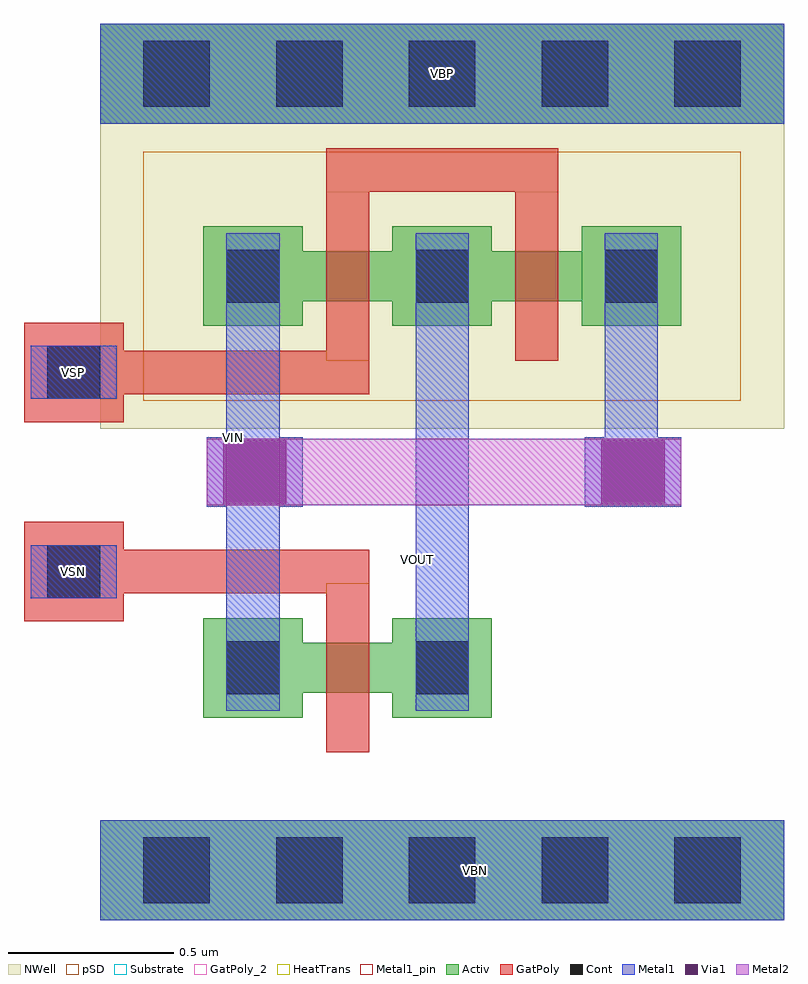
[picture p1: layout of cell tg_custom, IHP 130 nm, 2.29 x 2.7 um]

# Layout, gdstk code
import gdstk
lib = gdstk.Library(unit=1e-6, precision=5e-09)
def R(c, l, rs):  # rectangles x0, y0, x1, y1
    for r in rs: c.add(gdstk.rectangle(r[:2], r[2:], *l))
def A(c, l, x, y, w, h, nx, ny, dx, dy):  # array of equal rectangles
    R(c, l, [(x+i*dx, y+j*dy, x+i*dx+w, y+j*dy+h) for i in range(nx) for j in range(ny)])
Activ = (1, 0)
GatPoly = (5, 0)
GatPoly_2 = (5, 2)
Cont = (6, 0)
Metal1 = (8, 0)
Metal1_pin = (8, 2)
Metal2 = (10, 0)
pSD = (14, 0)
Via1 = (19, 0)
NWell = (31, 0)
Substrate = (40, 0)
HeatTrans = (51, 0)

pmos = lib.new_cell('pmos')
A(pmos, Activ, 0, 0, 0.3, 0.3, 3, 1, 0.57, 0)
R(pmos, Activ, [(0,0.075,1.44,0.225)])
R(pmos, GatPoly, [(0.37,-0.105,0.5,0.405), (0.37,-0.105,0.5,0.405), (0.94,-0.105,1.07,0.405)])
A(pmos, Cont, 0.07, 0.07, 0.16, 0.16, 3, 1, 0.57, 0)
R(pmos, Metal1, [(0.07,0.02,0.23,0.28), (0.07,0.02,0.23,0.28), (0.64,0.02,0.8,0.28), (0.64,0.02,0.8,0.28), (1.21,0.02,1.37,0.28)])
R(pmos, pSD, [(-0.18,-0.225,1.62,0.525)])
R(pmos, NWell, [(-0.31,-0.31,1.75,0.61)])
R(pmos, Substrate, [(1.14,0,1.44,0.3)])
R(pmos, HeatTrans, [(0.37,-0.105,0.5,0.405), (0.94,-0.105,1.07,0.405)])
pmos.add(gdstk.Label('pmos', (0.435,0.15), layer=63, texttype=0))
pmos.add(gdstk.Label('pmos', (0.435,0.15), layer=51, texttype=0))
pmos.add(gdstk.Label('pmos', (1.005,0.15), layer=51, texttype=0))

via_stack_1 = lib.new_cell('via_stack$1')
R(via_stack_1, GatPoly, [(-0.15,-0.15,0.15,0.15)])
R(via_stack_1, Cont, [(-0.08,-0.08,0.08,0.08)])
R(via_stack_1, Metal1, [(-0.13,-0.08,0.13,0.08)])

nmos = lib.new_cell('nmos')
R(nmos, Activ, [(0,0,0.3,0.3), (0.57,0,0.87,0.3), (0,0.075,0.87,0.225)])
R(nmos, GatPoly, [(0.37,-0.105,0.5,0.405)])
R(nmos, GatPoly_2, [(0.37,-0.105,0.5,0.405)])
R(nmos, Cont, [(0.07,0.07,0.23,0.23), (0.64,0.07,0.8,0.23)])
R(nmos, Metal1, [(0.07,0.02,0.23,0.28), (0.64,0.02,0.8,0.28)])
R(nmos, Metal1_pin, [(0.07,0.02,0.23,0.28), (0.64,0.02,0.8,0.28)])
R(nmos, HeatTrans, [(0.37,-0.105,0.5,0.405)])
nmos.add(gdstk.Label('nmos', (0.435,0.15), layer=63, texttype=0))
nmos.add(gdstk.Label('nmos', (0.435,0.15), layer=51, texttype=0))

via_stack_2 = lib.new_cell('via_stack$2')
R(via_stack_2, Metal1, [(-0.145,-0.105,0.145,0.105)])
R(via_stack_2, Metal2, [(-0.145,-0.1,0.145,0.1)])
R(via_stack_2, Via1, [(-0.095,-0.095,0.095,0.095)])

pmos_3 = lib.new_cell('pmos$3')
A(pmos_3, Activ, 0, 0, 0.3, 0.3, 3, 1, 0.57, 0)
R(pmos_3, Activ, [(0,0.075,1.44,0.225)])
R(pmos_3, GatPoly, [(0.37,-0.105,0.5,0.405), (0.37,-0.105,0.5,0.405), (0.94,-0.105,1.07,0.405)])
A(pmos_3, Cont, 0.07, 0.07, 0.16, 0.16, 3, 1, 0.57, 0)
R(pmos_3, Metal1, [(0.07,0.02,0.23,0.28), (0.07,0.02,0.23,0.28), (0.64,0.02,0.8,0.28), (0.64,0.02,0.8,0.28), (1.21,0.02,1.37,0.28)])
R(pmos_3, pSD, [(-0.18,-0.225,1.62,0.525)])
R(pmos_3, NWell, [(-0.31,-0.31,1.75,0.61)])
R(pmos_3, Substrate, [(1.14,0,1.44,0.3)])
R(pmos_3, HeatTrans, [(0.37,-0.105,0.5,0.405), (0.94,-0.105,1.07,0.405)])
pmos_3.add(gdstk.Label('pmos', (0.435,0.15), layer=63, texttype=0))
pmos_3.add(gdstk.Label('pmos', (0.435,0.15), layer=51, texttype=0))
pmos_3.add(gdstk.Label('pmos', (1.005,0.15), layer=51, texttype=0))

via_stack_1_3 = lib.new_cell('via_stack$1$3')
R(via_stack_1_3, GatPoly, [(-0.15,-0.15,0.15,0.15)])
R(via_stack_1_3, Cont, [(-0.08,-0.08,0.08,0.08)])
R(via_stack_1_3, Metal1, [(-0.13,-0.08,0.13,0.08)])

nmos_5 = lib.new_cell('nmos$5')
R(nmos_5, Activ, [(0,0,0.3,0.3), (0.57,0,0.87,0.3), (0,0.075,0.87,0.225)])
R(nmos_5, GatPoly, [(0.37,-0.105,0.5,0.405)])
R(nmos_5, GatPoly_2, [(0.37,-0.105,0.5,0.405)])
R(nmos_5, Cont, [(0.07,0.07,0.23,0.23), (0.64,0.07,0.8,0.23)])
R(nmos_5, Metal1, [(0.07,0.02,0.23,0.28), (0.64,0.02,0.8,0.28)])
R(nmos_5, Metal1_pin, [(0.07,0.02,0.23,0.28), (0.64,0.02,0.8,0.28)])
R(nmos_5, HeatTrans, [(0.37,-0.105,0.5,0.405)])
nmos_5.add(gdstk.Label('nmos', (0.435,0.15), layer=63, texttype=0))
nmos_5.add(gdstk.Label('nmos', (0.435,0.15), layer=51, texttype=0))

via_stack_2_1 = lib.new_cell('via_stack$2$1')
R(via_stack_2_1, Metal1, [(-0.145,-0.105,0.145,0.105)])
R(via_stack_2_1, Metal2, [(-0.145,-0.1,0.145,0.1)])
R(via_stack_2_1, Via1, [(-0.095,-0.095,0.095,0.095)])

pmos_4 = lib.new_cell('pmos$4')
A(pmos_4, Activ, 0, 0, 0.3, 0.3, 3, 1, 0.57, 0)
R(pmos_4, Activ, [(0,0.075,1.44,0.225)])
R(pmos_4, GatPoly, [(0.37,-0.105,0.5,0.405), (0.37,-0.105,0.5,0.405), (0.94,-0.105,1.07,0.405)])
A(pmos_4, Cont, 0.07, 0.07, 0.16, 0.16, 3, 1, 0.57, 0)
R(pmos_4, Metal1, [(0.07,0.02,0.23,0.28), (0.07,0.02,0.23,0.28), (0.64,0.02,0.8,0.28), (0.64,0.02,0.8,0.28), (1.21,0.02,1.37,0.28)])
R(pmos_4, pSD, [(-0.18,-0.225,1.62,0.525)])
R(pmos_4, NWell, [(-0.31,-0.31,1.75,0.61)])
R(pmos_4, Substrate, [(1.14,0,1.44,0.3)])
R(pmos_4, HeatTrans, [(0.37,-0.105,0.5,0.405), (0.94,-0.105,1.07,0.405)])
pmos_4.add(gdstk.Label('pmos', (0.435,0.15), layer=63, texttype=0))
pmos_4.add(gdstk.Label('pmos', (0.435,0.15), layer=51, texttype=0))
pmos_4.add(gdstk.Label('pmos', (1.005,0.15), layer=51, texttype=0))

via_stack_1_4 = lib.new_cell('via_stack$1$4')
R(via_stack_1_4, GatPoly, [(-0.15,-0.15,0.15,0.15)])
R(via_stack_1_4, Cont, [(-0.08,-0.08,0.08,0.08)])
R(via_stack_1_4, Metal1, [(-0.13,-0.08,0.13,0.08)])

nmos_6 = lib.new_cell('nmos$6')
R(nmos_6, Activ, [(0,0,0.3,0.3), (0.57,0,0.87,0.3), (0,0.075,0.87,0.225)])
R(nmos_6, GatPoly, [(0.37,-0.105,0.5,0.405)])
R(nmos_6, GatPoly_2, [(0.37,-0.105,0.5,0.405)])
R(nmos_6, Cont, [(0.07,0.07,0.23,0.23), (0.64,0.07,0.8,0.23)])
R(nmos_6, Metal1, [(0.07,0.02,0.23,0.28), (0.64,0.02,0.8,0.28)])
R(nmos_6, Metal1_pin, [(0.07,0.02,0.23,0.28), (0.64,0.02,0.8,0.28)])
R(nmos_6, HeatTrans, [(0.37,-0.105,0.5,0.405)])
nmos_6.add(gdstk.Label('nmos', (0.435,0.15), layer=63, texttype=0))
nmos_6.add(gdstk.Label('nmos', (0.435,0.15), layer=51, texttype=0))

via_stack_2_2 = lib.new_cell('via_stack$2$2')
R(via_stack_2_2, Metal1, [(-0.145,-0.105,0.145,0.105)])
R(via_stack_2_2, Metal2, [(-0.145,-0.1,0.145,0.1)])
R(via_stack_2_2, Via1, [(-0.095,-0.095,0.095,0.095)])

tg_custom = lib.new_cell('tg_custom')
R(tg_custom, Activ, [(0.205,1.165,2.265,1.465), (0.205,1.165,2.265,1.465), (0.205,1.165,2.265,1.465), (0.205,3.565,2.265,3.865), (0.205,3.565,2.265,3.865), (0.205,3.565,2.265,3.865)])
R(tg_custom, GatPoly, [(0.885,1.67,1.015,2.28), (0.885,1.67,1.015,2.28), (0.885,1.67,1.015,2.28), (0.125,2.15,1.015,2.28), (0.125,2.15,1.015,2.28), (0.125,2.15,1.015,2.28), (0.125,2.75,1.015,2.88), (0.125,2.75,1.015,2.88), (0.125,2.75,1.015,2.88), (0.885,2.75,1.015,3.36), (0.885,2.75,1.015,3.36), (0.885,2.75,1.015,3.36), (0.885,3.36,1.585,3.49), (0.885,3.36,1.585,3.49), (0.885,3.36,1.585,3.49)])
R(tg_custom, Cont, [(0.335,1.215,0.535,1.415), (0.335,1.215,0.535,1.415), (0.335,1.215,0.535,1.415), (0.735,1.215,0.935,1.415), (0.735,1.215,0.935,1.415), (0.735,1.215,0.935,1.415), (1.135,1.215,1.335,1.415), (1.135,1.215,1.335,1.415), (1.135,1.215,1.335,1.415), (1.535,1.215,1.735,1.415), (1.535,1.215,1.735,1.415), (1.535,1.215,1.735,1.415), (1.935,1.215,2.135,1.415), (1.935,1.215,2.135,1.415), (1.935,1.215,2.135,1.415), (0.335,3.615,0.535,3.815), (0.335,3.615,0.535,3.815), (0.335,3.615,0.535,3.815), (0.735,3.615,0.935,3.815), (0.735,3.615,0.935,3.815), (0.735,3.615,0.935,3.815), (1.135,3.615,1.335,3.815), (1.135,3.615,1.335,3.815), (1.135,3.615,1.335,3.815), (1.535,3.615,1.735,3.815), (1.535,3.615,1.735,3.815), (1.535,3.615,1.735,3.815), (1.935,3.615,2.135,3.815), (1.935,3.615,2.135,3.815), (1.935,3.615,2.135,3.815)])
R(tg_custom, Metal1, [(0.205,1.165,2.265,1.465), (0.205,1.165,2.265,1.465), (0.205,1.165,2.265,1.465), (0.585,1.795,0.745,3.235), (0.585,1.795,0.745,3.235), (0.585,1.795,0.745,3.235), (1.155,1.795,1.315,3.235), (1.155,1.795,1.315,3.235), (1.155,1.795,1.315,3.235), (1.725,2.41,1.885,3.235), (1.725,2.41,1.885,3.235), (1.725,2.41,1.885,3.235), (0.205,3.565,2.265,3.865), (0.205,3.565,2.265,3.865), (0.205,3.565,2.265,3.865)])
R(tg_custom, Metal1_pin, [(0.205,1.165,2.265,1.465), (0.205,1.165,2.265,1.465), (0.205,1.165,2.265,1.465), (0.585,1.795,0.745,3.235), (0.585,1.795,0.745,3.235), (0.585,1.795,0.745,3.235), (1.155,1.795,1.315,3.235), (1.155,1.795,1.315,3.235), (1.155,1.795,1.315,3.235), (0.205,3.565,2.265,3.865), (0.205,3.565,2.265,3.865), (0.205,3.565,2.265,3.865)])
R(tg_custom, Metal2, [(0.525,2.415,1.955,2.615), (0.525,2.415,1.955,2.615), (0.525,2.415,1.955,2.615)])
R(tg_custom, pSD, [(0.205,1.165,2.265,1.465), (0.205,1.165,2.265,1.465), (0.205,1.165,2.265,1.465)])
R(tg_custom, NWell, [(0.205,3.565,2.265,3.865), (0.205,3.565,2.265,3.865), (0.205,3.565,2.265,3.865)])
tg_custom.add(gdstk.Reference(pmos, (0.515,2.955)))
tg_custom.add(gdstk.Reference(via_stack_1, (0.125,2.815)))
tg_custom.add(gdstk.Reference(via_stack_1, (0.125,2.215)))
tg_custom.add(gdstk.Reference(nmos, (0.515,1.775)))
tg_custom.add(gdstk.Reference(via_stack_2, (0.67,2.515)))
tg_custom.add(gdstk.Reference(via_stack_2, (1.81,2.515)))
tg_custom.add(gdstk.Reference(pmos_3, (0.515,2.955)))
tg_custom.add(gdstk.Reference(via_stack_1_3, (0.125,2.815)))
tg_custom.add(gdstk.Reference(via_stack_1_3, (0.125,2.215)))
tg_custom.add(gdstk.Reference(nmos_5, (0.515,1.775)))
tg_custom.add(gdstk.Reference(via_stack_2_1, (0.67,2.515)))
tg_custom.add(gdstk.Reference(via_stack_2_1, (1.81,2.515)))
tg_custom.add(gdstk.Reference(pmos_4, (0.515,2.955)))
tg_custom.add(gdstk.Reference(via_stack_1_4, (0.125,2.815)))
tg_custom.add(gdstk.Reference(via_stack_1_4, (0.125,2.215)))
tg_custom.add(gdstk.Reference(nmos_6, (0.515,1.775)))
tg_custom.add(gdstk.Reference(via_stack_2_2, (0.67,2.515)))
tg_custom.add(gdstk.Reference(via_stack_2_2, (1.81,2.515)))
tg_custom.add(gdstk.Label('VIN', (0.605,2.62), layer=8, texttype=25))
tg_custom.add(gdstk.Label('VOUT', (1.16,2.25), layer=8, texttype=25))
tg_custom.add(gdstk.Label('VSN', (0.125,2.215), layer=8, texttype=25))
tg_custom.add(gdstk.Label('VBN', (1.335,1.315), layer=8, texttype=25))
tg_custom.add(gdstk.Label('VSP', (0.125,2.815), layer=8, texttype=25))
tg_custom.add(gdstk.Label('VBP', (1.235,3.715), layer=8, texttype=25))
tg_custom.add(gdstk.Label('VIN', (0.605,2.62), layer=8, texttype=25))
tg_custom.add(gdstk.Label('VOUT', (1.16,2.25), layer=8, texttype=25))
tg_custom.add(gdstk.Label('VSN', (0.125,2.215), layer=8, texttype=25))
tg_custom.add(gdstk.Label('VBN', (1.335,1.315), layer=8, texttype=25))
tg_custom.add(gdstk.Label('VSP', (0.125,2.815), layer=8, texttype=25))
tg_custom.add(gdstk.Label('VBP', (1.235,3.715), layer=8, texttype=25))
tg_custom.add(gdstk.Label('VIN', (0.605,2.62), layer=8, texttype=25))
tg_custom.add(gdstk.Label('VOUT', (1.16,2.25), layer=8, texttype=25))
tg_custom.add(gdstk.Label('VSN', (0.125,2.215), layer=8, texttype=25))
tg_custom.add(gdstk.Label('VBN', (1.335,1.315), layer=8, texttype=25))
tg_custom.add(gdstk.Label('VSP', (0.125,2.815), layer=8, texttype=25))
tg_custom.add(gdstk.Label('VBP', (1.235,3.715), layer=8, texttype=25))

lib.write_gds('tg_custom.gds')
